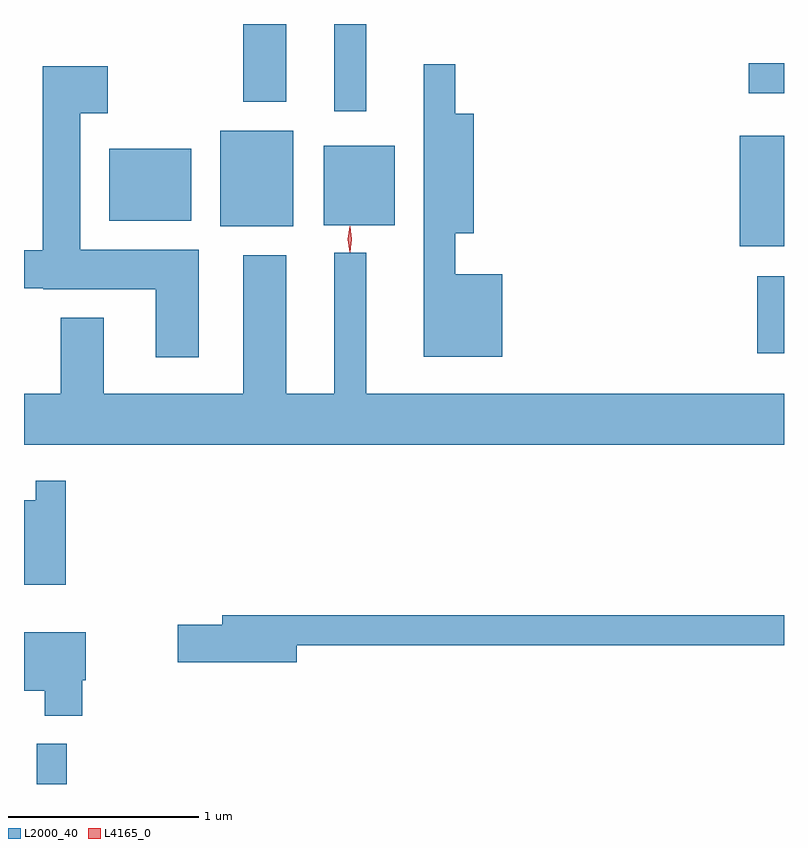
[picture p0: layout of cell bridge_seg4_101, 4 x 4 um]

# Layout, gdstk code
import gdstk
lib = gdstk.Library(unit=1e-6, precision=1e-09)
def R(c, l, rs):  # rectangles x0, y0, x1, y1
    for r in rs: c.add(gdstk.rectangle(r[:2], r[2:], *l))
def P(c, l, *ps):  # polygons
    for p in ps: c.add(gdstk.Polygon(p, *l))
L2000_40 = (2000, 40)
L4165_0 = (4165, 0)

bridge_seg4_101 = lib.new_cell('bridge_seg4_101')
R(bridge_seg4_101, L2000_40, [(776.186,1366.211,776.344,1366.423), (779.976,1368.478,780.118,1368.884), (779.886,1369.041,780.118,1369.624), (777.151,1369.146,777.534,1369.649), (777.696,1369.151,778.069,1369.569), (776.566,1369.176,776.999,1369.554), (777.751,1369.753,777.919,1370.211), (777.271,1369.801,777.499,1370.211), (779.933,1369.846,780.118,1370.004)])
P(bridge_seg4_101, L2000_40, [(778.634,1368.894),(778.389,1368.894),(778.389,1369.111),(778.484,1369.111),(778.484,1369.739),(778.389,1369.739),(778.389,1369.998),(778.221,1369.998),(778.221,1368.461),(778.634,1368.461)],
  [(777.039,1369.024),(776.414,1369.024),(776.414,1369.741),(776.559,1369.741),(776.559,1369.989),(776.216,1369.989),(776.216,1369.019),(776.118,1369.019),(776.118,1368.821),(776.22,1368.821),(776.22,1368.816),(776.811,1368.816),(776.811,1368.456),(777.039,1368.456)],
  [(780.118,1368.264),(777.919,1368.264),(777.919,1369.008),(777.751,1369.008),(777.751,1368.264),(777.499,1368.264),(777.499,1368.994),(777.271,1368.994),(777.271,1368.264),(776.539,1368.264),(776.539,1368.664),(776.311,1368.664),(776.311,1368.264),(776.118,1368.264),(776.118,1367.996),(780.118,1367.996)],
  [(776.339,1367.808),(776.181,1367.808),(776.181,1367.704),(776.118,1367.704),(776.118,1367.261),(776.339,1367.261)],
  [(777.554,1366.941),(780.118,1366.941),(780.118,1367.099),(777.161,1367.099),(777.161,1367.049),(776.926,1367.049),(776.926,1366.851),(777.554,1366.851)],
  [(776.424,1366.756),(776.444,1366.756),(776.444,1367.009),(776.118,1367.009),(776.118,1366.701),(776.226,1366.701),(776.226,1366.571),(776.424,1366.571)])
P(bridge_seg4_101, L4165_0, [(777.833,1369.01),(777.833,1369.01),(777.823,1369.078),(777.833,1369.146),(777.833,1369.146),(777.834,1369.146),(777.843,1369.078),(777.834,1369.01)],
  [(777.833,1369.013),(777.823,1369.078),(777.833,1369.141),(777.834,1369.142),(777.834,1369.141),(777.844,1369.078),(777.834,1369.013),(777.834,1369.013)])

lib.write_gds('bridge_seg4_101.gds')
